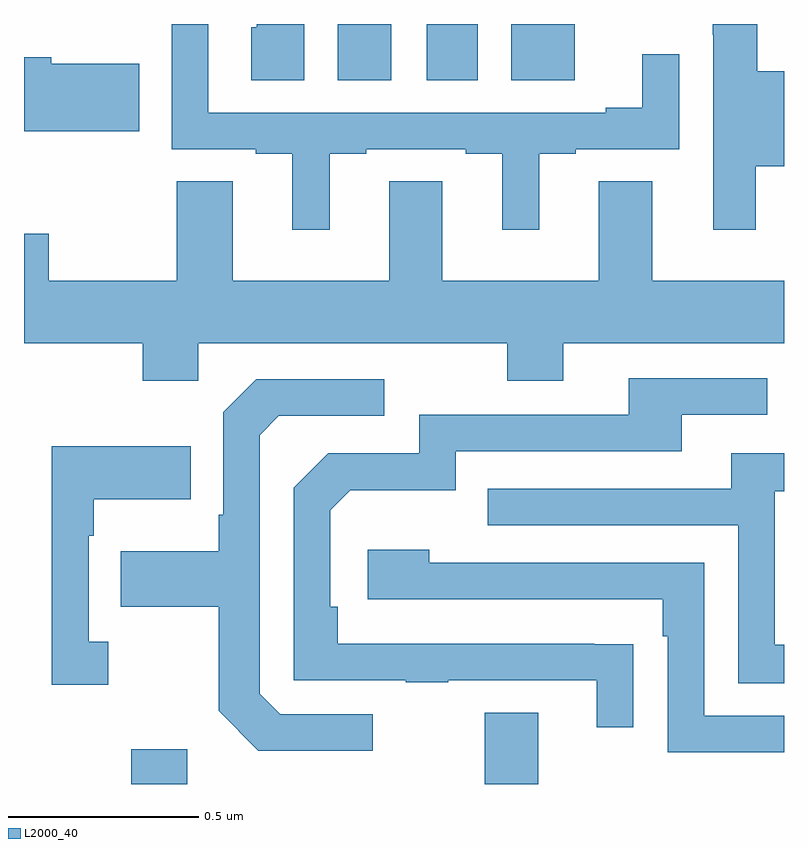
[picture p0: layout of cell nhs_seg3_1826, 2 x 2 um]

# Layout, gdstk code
import gdstk
lib = gdstk.Library(unit=1e-6, precision=1e-09)
def R(c, l, rs):  # rectangles x0, y0, x1, y1
    for r in rs: c.add(gdstk.rectangle(r[:2], r[2:], *l))
def P(c, l, *ps):  # polygons
    for p in ps: c.add(gdstk.Polygon(p, *l))
L2000_40 = (2000, 40)

nhs_seg3_1826 = lib.new_cell('nhs_seg3_1826')
R(nhs_seg3_1826, L2000_40, [(133.282,722.4,133.429,722.491), (134.213,722.4,134.353,722.587), (133.826,724.252,133.966,724.4), (134.06,724.252,134.194,724.4), (134.282,724.252,134.449,724.4)])
P(nhs_seg3_1826, L2000_40, [(133.804,724.059),(133.9,724.059),(133.9,724.071),(134.162,724.071),(134.162,724.059),(134.258,724.059),(134.258,723.858),(134.356,723.858),(134.356,724.059),(134.452,724.059),(134.452,724.071),(134.724,724.071),(134.724,724.321),(134.627,724.321),(134.627,724.18),(134.531,724.18),(134.531,724.167),(133.485,724.167),(133.485,724.4),(133.389,724.4),(133.389,724.071),(133.61,724.071),(133.61,724.059),(133.706,724.059),(133.706,723.858),(133.804,723.858)],
  [(133.738,724.4),(133.613,724.4),(133.613,724.392),(133.598,724.392),(133.598,724.252),(133.738,724.252)],
  [(134.926,724.026),(135,724.026),(135,724.276),(134.93,724.276),(134.93,724.4),(134.813,724.4),(134.813,724.372),(134.814,724.372),(134.814,723.858),(134.926,723.858)],
  [(133.303,724.295),(133.072,724.295),(133.072,724.312),(133,724.312),(133,724.118),(133.303,724.118)],
  [(133.458,723.56),(134.272,723.56),(134.272,723.461),(134.419,723.461),(134.419,723.56),(135,723.56),(135,723.724),(134.653,723.724),(134.653,723.986),(134.513,723.986),(134.513,723.724),(134.101,723.724),(134.101,723.986),(133.961,723.986),(133.961,723.724),(133.549,723.724),(133.549,723.986),(133.402,723.986),(133.402,723.724),(133.065,723.724),(133.065,723.848),(133,723.848),(133,723.56),(133.312,723.56),(133.312,723.461),(133.458,723.461)],
  [(134.603,722.768),(134.501,722.768),(134.501,722.769),(133.826,722.769),(133.826,722.866),(133.806,722.866),(133.806,723.12),(133.859,723.173),(134.136,723.173),(134.136,723.276),(134.731,723.276),(134.731,723.372),(134.956,723.372),(134.956,723.468),(134.591,723.468),(134.591,723.372),(134.04,723.372),(134.04,723.27),(133.8,723.27),(133.71,723.18),(133.71,722.673),(134.005,722.673),(134.005,722.668),(134.117,722.668),(134.117,722.673),(134.507,722.673),(134.507,722.55),(134.603,722.55)],
  [(133.918,722.583),(133.674,722.583),(133.62,722.637),(133.62,723.318),(133.671,723.369),(133.948,723.369),(133.948,723.465),(133.611,723.465),(133.524,723.378),(133.524,723.109),(133.512,723.109),(133.512,723.013),(133.255,723.013),(133.255,722.866),(133.512,722.866),(133.512,722.593),(133.617,722.487),(133.918,722.487)],
  [(133.222,722.774),(133.17,722.774),(133.17,723.053),(133.183,723.053),(133.183,723.149),(133.439,723.149),(133.439,723.289),(133.073,723.289),(133.073,722.661),(133.222,722.661)],
  [(135,722.766),(134.976,722.766),(134.976,723.171),(135,723.171),(135,723.271),(134.861,723.271),(134.861,723.177),(134.221,723.177),(134.221,723.081),(134.88,723.081),(134.88,722.665),(135,722.665)],
  [(135,722.58),(134.79,722.58),(134.79,722.982),(134.066,722.982),(134.066,723.016),(133.905,723.016),(133.905,722.886),(134.681,722.886),(134.681,722.789),(134.694,722.789),(134.694,722.484),(135,722.484)])

lib.write_gds('nhs_seg3_1826.gds')
